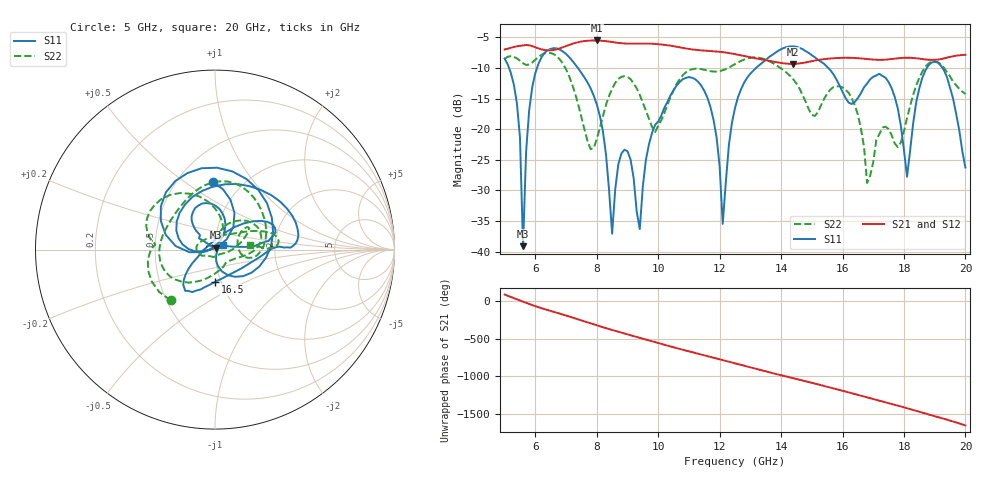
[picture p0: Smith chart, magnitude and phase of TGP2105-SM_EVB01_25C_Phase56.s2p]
! Date: Wednesday, June 05, 2013  1:52 PM
! Filename: C:\Data\Mike_Arnold\TGP2105-SM\Over_Temp\TGP2105-SM_EVB01_25C_Phase56.s2p
! Comments:
!^VDC(V):5.000
!^VDC(mA):0.061
!%Freq(GHz),S11(dB),S11(ang),S21(dB),S21(ang),S12(dB),S12(ang),S22(dB),S22(ang)
# GHz  S  DB  R  50
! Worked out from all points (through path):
!   151 points, 5 GHz to 20 GHz, reference 50 ohm
!   highest |S21| = -5.50 dB at 8 GHz (marker M1); lowest = -9.3 dB at 14.4 GHz (marker M2)
!   lowest |S11| = -39.1 dB at 5.6 GHz (marker M3), VSWR 1.02, Z = 50.5 + j0.996 ohm
!   |S11| at or under -10 dB: 5.144 GHz to 6.055 GHz (911.2 MHz wide, 16.3 % of centre); 7.387 GHz to 13.18 GHz (5.795 GHz wide, 56.4 % of centre); 15.54 GHz to 18.75 GHz (3.21 GHz wide, 18.7 % of centre)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
!   |S22| runs from -28.8 to -7.5 dB; largest |S21 - S12| = 0.0022
!   S11 on the Smith chart (normalised r, x): 5 GHz: 0.73, +0.65; 16.5 GHz: 0.94, -0.35; 20 GHz: 1.09, +0.05
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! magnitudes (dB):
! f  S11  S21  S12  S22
! 5 GHz  -8.5  -7.0  -7.0  -8.5
! 5.4 GHz  -15.7  -6.5  -6.5  -8.4
! 5.6 GHz  -39.1  -6.3  -6.3  -9.2
! 5.8 GHz  -16.9  -6.3  -6.3  -9.4
! 6.1 GHz  -9.3  -6.8  -6.8  -8.2
! 7.5 GHz  -10.8  -5.7  -5.7  -18.0
! 8 GHz  -15.9  -5.5  -5.5  -21.6
! 8.5 GHz  -37.1  -5.8  -5.8  -13.4
! 8.9 GHz  -23.4  -6.0  -6.0  -11.3
! 9.4 GHz  -36.3  -6.0  -6.0  -14.4
! 10 GHz  -18.8  -6.1  -6.2  -19.4
! 11.4 GHz  -12.9  -7.1  -7.1  -10.2
! 12.1 GHz  -35.5  -7.4  -7.4  -10.4
! 12.5 GHz  -16.5  -7.7  -7.7  -9.4
! 14.4 GHz  -6.5  -9.3  -9.3  -11.9
! 15 GHz  -7.9  -8.9  -8.9  -17.7
! 16.5 GHz  -14.9  -8.4  -8.4  -17.6
! 16.8 GHz  -12.6  -8.5  -8.6  -28.8
! 17.5 GHz  -12.3  -8.6  -8.6  -20.0
! 18.1 GHz  -27.8  -8.3  -8.3  -18.2
! 19.2 GHz  -9.6  -8.6  -8.6  -9.4
! 20 GHz  -26.3  -7.8  -7.9  -14.2
